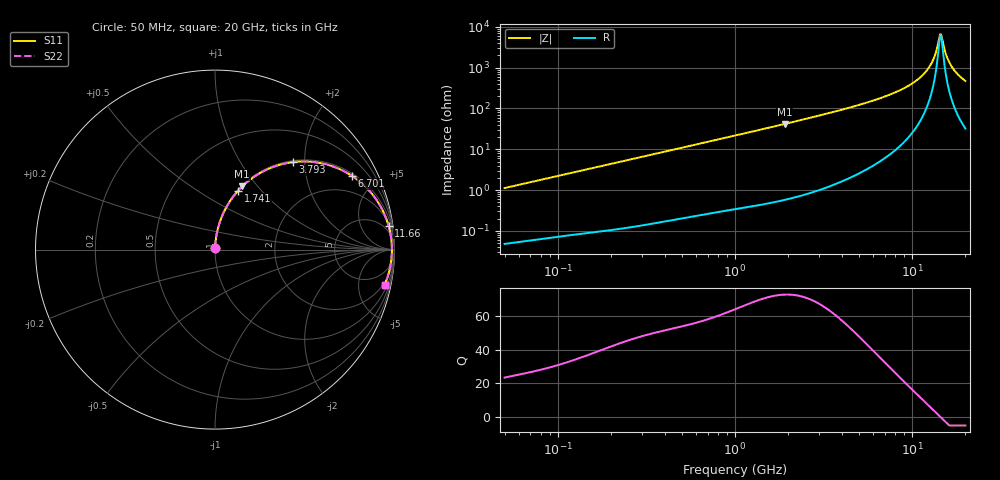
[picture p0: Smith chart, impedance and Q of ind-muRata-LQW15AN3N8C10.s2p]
!Murata Part Number: LQW15AN3N8C10
!These Parameters are Measured in Series Mode Connection
!  o--[Z]--o
!Port1  Port2
!  o-------o
!Freq. Start=50[MHz] Stop=20[GHz], 401[Steps]
# Hz S RI R 50
!Freq.(Hz) S11(Real) S11(Imag) S21(Real) S21(Imag) S12(Real) S12(Imag) S22(Real) S22(Imag)
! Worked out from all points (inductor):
!   401 points, 50 MHz to 20 GHz, reference 50 ohm
!   read as one part in series: L = 3.55 nH near 51.52 MHz
!   highest Q = 72.7 at 1.904 GHz (marker M1), where L = 3.48 nH
!   self-resonance near 14.39 GHz
!   S11 on the Smith chart (normalised r, x): 50 MHz: 1.00, +0.02; 1.741 GHz: 1.01, +0.76; 3.793 GHz: 1.03, +1.75; 6.701 GHz: 1.11, +3.66; 11.66 GHz: 2, +14; 20 GHz: 1.65, -9.45
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5e7  0.000603 0.0112  0.9994 -0.0112  0.9994 -0.0112  0.000603 0.0112
1.364002e8  0.00175 0.03  0.9983 -0.03  0.9983 -0.03  0.00175 0.03
3.721004e8  0.00811 0.0804  0.9919 -0.0804  0.9919 -0.0804  0.00811 0.0804
1e9  0.0479 0.2058  0.9521 -0.2058  0.9521 -0.2058  0.0479 0.2058
1.740566e9  0.1296 0.329  0.8704 -0.329  0.8704 -0.329  0.1296 0.329
1.904239e9  0.1514 0.3516  0.8486 -0.3516  0.8486 -0.3516  0.1514 0.3516
2.728004e9  0.2726 0.4381  0.7274 -0.4381  0.7274 -0.4381  0.2726 0.4381
3.792786e9  0.4344 0.4873  0.5656 -0.4873  0.5656 -0.4873  0.4344 0.4873
5.041459e9  0.6005 0.4794  0.3995 -0.4794  0.3995 -0.4794  0.6005 0.4794
6.701223e9  0.7635 0.4107  0.2365 -0.4107  0.2365 -0.4107  0.7635 0.4107
7.442007e9  0.8166 0.3705  0.1834 -0.3705  0.1834 -0.3705  0.8166 0.3705
9.745021e9  0.9238 0.2383  0.0762 -0.2383  0.0762 -0.2383  0.9238 0.2383
1.166392e10  0.9669 0.134  0.0331 -0.134  0.0331 -0.134  0.9669 0.134
1.295331e10  0.9806 0.0699  0.0194 -0.0699  0.0194 -0.0699  0.9806 0.0699
1.354865e10  0.9838 0.042  0.0162 -0.042  0.0162 -0.042  0.9838 0.042
1.417136e10  0.9854 0.014  0.0146 -0.014  0.0146 -0.014  0.9854 0.014
1.460232e10  0.9856 -0.00474  0.0144 0.00474  0.0144 0.00474  0.9856 -0.00474
1.482269e10  0.9855 -0.0141  0.0145 0.0141  0.0145 0.0141  0.9855 -0.0141
1.573793e10  0.983 -0.0514  0.017 0.0514  0.017 0.0514  0.983 -0.0514
1.646126e10  0.9793 -0.0793  0.0207 0.0793  0.0207 0.0793  0.9793 -0.0793
1.800918e10  0.9671 -0.1342  0.0329 0.1342  0.0329 0.1342  0.9671 -0.1342
2e10  0.945 -0.1963  0.055 0.1963  0.055 0.1963  0.945 -0.1963
